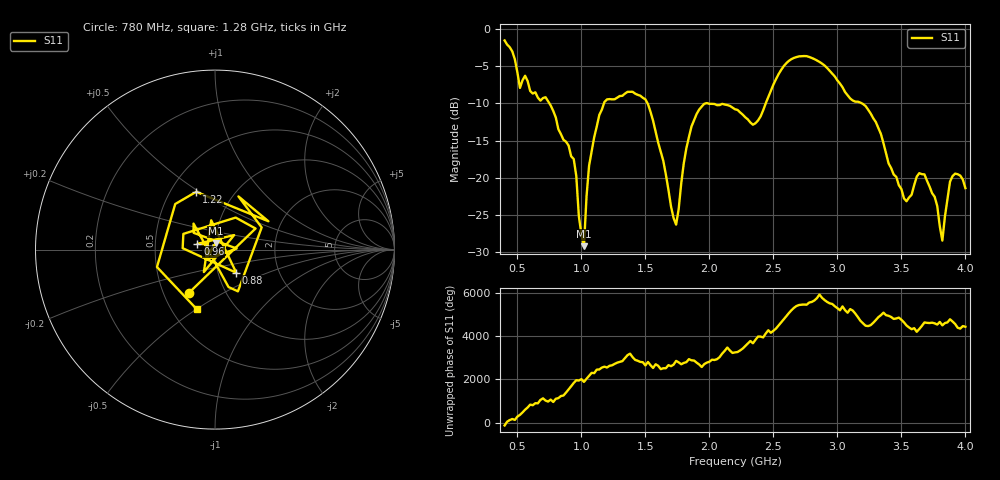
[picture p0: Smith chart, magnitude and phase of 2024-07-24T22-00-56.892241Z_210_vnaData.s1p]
!Created with skrf (http://scikit-rf.org).
# Hz S RI R 50.0
!freq ReS11 ImS11
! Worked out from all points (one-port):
!   181 points, 400 MHz to 4 GHz, reference 50 ohm
!   lowest |S11| = -29.2 dB at 1.02 GHz (marker M1), VSWR 1.07, Z = 50.3 + j3.49 ohm
!   |S11| at or under -10 dB: 1.517 GHz to 1.968 GHz (450.5 MHz wide, 25.9 % of centre); 1.991 GHz to 2.44 GHz (448.6 MHz wide, 20.2 % of centre); 3.193 GHz to end of sweep (the widest 3 of 4)
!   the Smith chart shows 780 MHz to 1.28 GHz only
!   S11 on the Smith chart (normalised r, x): 780 MHz: 0.67, -0.35; 880 MHz: 1.22, -0.32; 960 MHz: 0.82, +0.05; 1.22 GHz: 0.67, +0.49; 1.28 GHz: 0.66, -0.50
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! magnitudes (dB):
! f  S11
! 400 MHz  -1.5
! 520 MHz  -7.9
! 780 MHz  -11.0
! 860 MHz  -14.9
! 880 MHz  -15.1
! 960 MHz  -19.7
! 980 MHz  -25.1
! 1.02 GHz  -29.2
! 1.06 GHz  -18.3
! 1.14 GHz  -11.5
! 1.22 GHz  -9.4
! 1.28 GHz  -9.2
! 1.3 GHz  -9.0
! 1.52 GHz  -10.1
! 1.72 GHz  -25.4
! 1.76 GHz  -24.2
! 1.82 GHz  -16.0
! 1.9 GHz  -11.4
! 2.2 GHz  -10.8
! 2.36 GHz  -12.6
! 2.66 GHz  -3.9
! 3.1 GHz  -9.3
! 3.3 GHz  -12.5
! 3.56 GHz  -22.6
! 3.68 GHz  -19.5
! 3.82 GHz  -28.4
! 3.88 GHz  -20.5
! 4 GHz  -21.4
